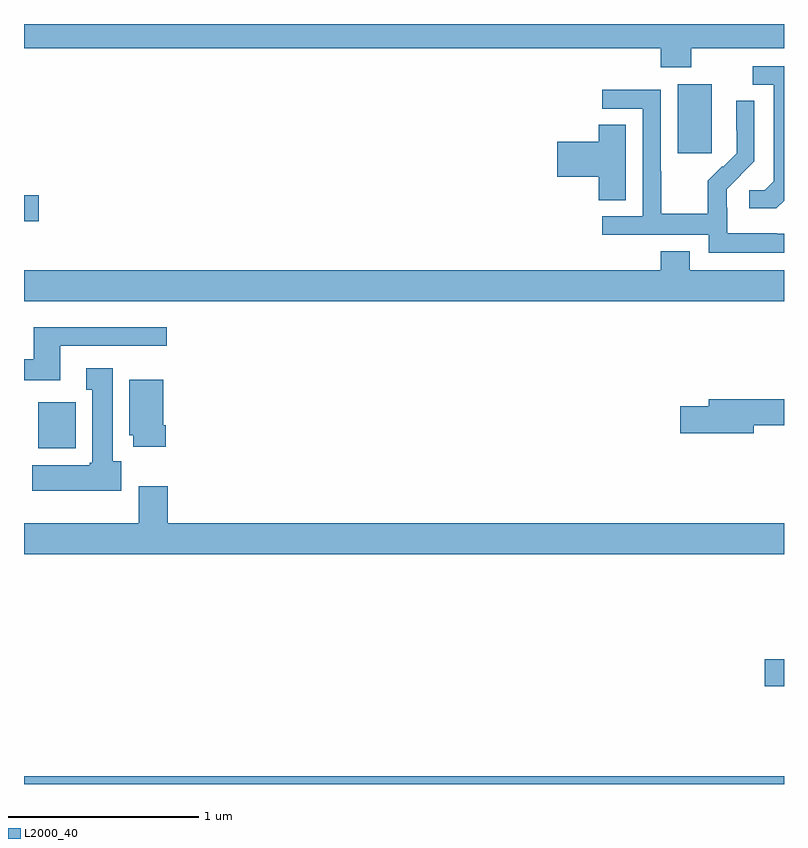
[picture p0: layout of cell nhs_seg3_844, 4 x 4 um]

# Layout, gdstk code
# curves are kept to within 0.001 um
import gdstk
lib = gdstk.Library(unit=1e-6, precision=1e-09)
def R(c, l, rs):  # rectangles x0, y0, x1, y1
    for r in rs: c.add(gdstk.rectangle(r[:2], r[2:], *l))
def P(c, l, *ps):  # polygons
    for p in ps: c.add(gdstk.Polygon(p, *l))
L2000_40 = (2000, 40)

nhs_seg3_844 = lib.new_cell('nhs_seg3_844')
R(nhs_seg3_844, L2000_40, [(155,674.4,159,674.44), (158.898,674.914,159,675.056), (155.075,676.166,155.272,676.408), (155,677.363,155.077,677.498), (158.441,677.721,158.62,678.082)])
P(nhs_seg3_844, L2000_40, [(158.511,678.272),(159,678.272),(159,678.4),(155,678.4),(155,678.272),(158.351,678.272),(158.351,678.173),(158.511,678.173)],
  [(159,677.469),(159,678.177),(158.835,678.177),(158.835,678.081),(158.945,678.081),(158.945,677.573),(158.898,677.526),(158.817,677.526),(158.817,677.429),(158.96,677.429)],
  [(159,677.295),(158.963,677.295),(158.963,677.299),(158.7,677.299),(158.7,677.433),(158.698,677.433),(158.698,677.53),(158.844,677.678),(158.844,677.996),(158.748,677.996),(158.748,677.842),(158.75,677.842),(158.75,677.72),(158.679,677.649),(158.676,677.652),(158.599,677.575),(158.599,677.401),(158.355,677.401),(158.355,677.624),(158.352,677.624),(158.352,678.054),(158.043,678.054),(158.043,677.955),(158.256,677.955),(158.256,677.388),(158.043,677.388),(158.043,677.292),(158.604,677.292),(158.604,677.195),(159,677.195)],
  [(158.167,677.87),(158.024,677.87),(158.024,677.78),(157.806,677.78),(157.806,677.597),(158.024,677.597),(158.024,677.473),(158.167,677.473)],
  [(159,677.104),(158.503,677.104),(158.503,677.203),(158.351,677.203),(158.351,677.104),(155,677.104),(155,676.94),(159,676.94)],
  [(155.191,676.707),(155.752,676.707),(155.752,676.804),(155.051,676.804),(155.051,676.636),(155,676.636),(155,676.526),(155.191,676.526)],
  [(155.512,676.098),(155.467,676.098),(155.467,676.588),(155.327,676.588),(155.327,676.475),(155.36,676.475),(155.36,676.092),(155.347,676.092),(155.347,676.078),(155.043,676.078),(155.043,675.944),(155.512,675.944)],
  [(155.747,676.288),(155.734,676.288),(155.734,676.528),(155.555,676.528),(155.555,676.236),(155.576,676.236),(155.576,676.176),(155.747,676.176)],
  [(158.842,676.288),(159,676.288),(159,676.424),(158.603,676.424),(158.603,676.388),(158.454,676.388),(158.454,676.246),(158.842,676.246)],
  [(159,675.772),(155.756,675.772),(155.756,675.967),(155.603,675.967),(155.603,675.772),(155,675.772),(155,675.608),(159,675.608)])

lib.write_gds('nhs_seg3_844.gds')
